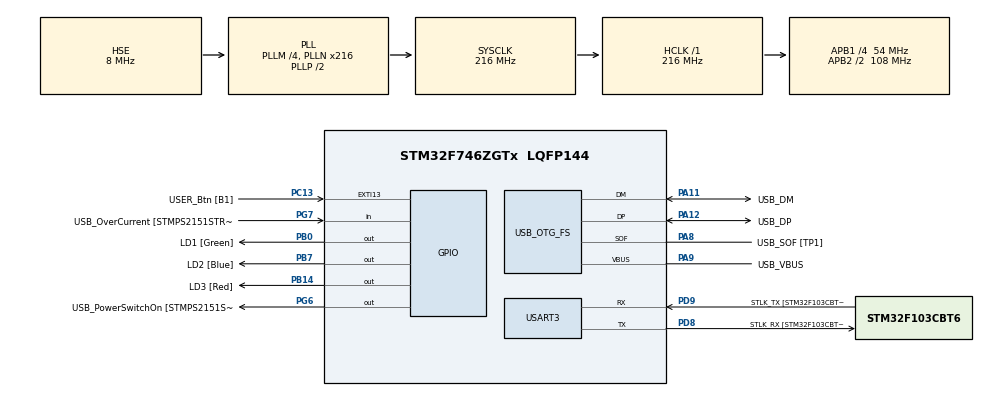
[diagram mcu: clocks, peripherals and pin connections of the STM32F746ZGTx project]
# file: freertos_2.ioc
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FREERTOS.Tasks01=defaultTask,24,128,StartDefaultTask,Default,NULL,Dynamic,NULL,NULL
Mcu.Family=STM32F7
Mcu.Name=STM32F746ZGTx
Mcu.Package=LQFP144
NVIC.PriorityGroup=NVIC_PRIORITYGROUP_4
NVIC.TIM1_UP_TIM10_IRQn=true\:0\:0\:false\:false\:true\:false\:false\:true
NVIC.TimeBase=TIM1_UP_TIM10_IRQn
NVIC.TimeBaseIP=TIM1
PA1.GPIO_Label=RMII_REF_CLK [LAN8742A-CZ-TR_REFCLK0]
PA1.Signal=ETH_REF_CLK
PA10.GPIO_Label=USB_ID
PA10.Signal=USB_OTG_FS_ID
PA11.GPIO_Label=USB_DM
PA11.Mode=Device_Only
PA11.Signal=USB_OTG_FS_DM
PA12.GPIO_Label=USB_DP
PA12.Mode=Device_Only
PA12.Signal=USB_OTG_FS_DP
PA13.GPIO_Label=TMS
PA13.Mode=Serial_Wire
PA13.Signal=SYS_JTMS-SWDIO
PA14.GPIO_Label=TCK
PA14.Mode=Serial_Wire
PA14.Signal=SYS_JTCK-SWCLK
PA2.GPIO_Label=RMII_MDIO [LAN8742A-CZ-TR_MDIO]
PA2.Signal=ETH_MDIO
PA7.GPIO_Label=RMII_CRS_DV [LAN8742A-CZ-TR_CRS_DV]
PA7.Signal=ETH_CRS_DV
PA8.GPIO_Label=USB_SOF [TP1]
PA8.Mode=Activate_SOF_FS
PA8.Signal=USB_OTG_FS_SOF
PA9.GPIO_Label=USB_VBUS
PA9.Mode=Activate_VBUS
PA9.Signal=USB_OTG_FS_VBUS
PB0.GPIO_Label=LD1 [Green]
PB0.Signal=GPIO_Output
PB13.GPIO_Label=RMII_TXD1 [LAN8742A-CZ-TR_TXD1]
PB13.Signal=ETH_TXD1
PB14.GPIO_Label=LD3 [Red]
PB14.Signal=GPIO_Output
PB3.GPIO_Label=SW0
PB3.Signal=SYS_JTDO-SWO
PB7.GPIO_Label=LD2 [Blue]
PB7.Signal=GPIO_Output
PC1.GPIO_Label=RMII_MDC [LAN8742A-CZ-TR_MDC]
PC1.Signal=ETH_MDC
PC13.GPIO_Label=USER_Btn [B1]
PC13.Signal=GPXTI13
PC14/OSC32_IN.Mode=LSE-External-Oscillator
PC14/OSC32_IN.Signal=RCC_OSC32_IN
PC15/OSC32_OUT.Mode=LSE-External-Oscillator
PC15/OSC32_OUT.Signal=RCC_OSC32_OUT
PC4.GPIO_Label=RMII_RXD0 [LAN8742A-CZ-TR_RXD0]
PC4.Signal=ETH_RXD0
PC5.GPIO_Label=RMII_RXD1 [LAN8742A-CZ-TR_RXD1]
PC5.Signal=ETH_RXD1
PD8.GPIO_Label=STLK_RX [STM32F103CBT6_PA3]
PD8.Mode=Asynchronous
PD8.Signal=USART3_TX
PD9.GPIO_Label=STLK_TX [STM32F103CBT6_PA2]
PD9.Mode=Asynchronous
PD9.Signal=USART3_RX
PG11.GPIO_Label=RMII_TX_EN [LAN8742A-CZ-TR_TXEN]
PG11.Signal=ETH_TX_EN
PG13.GPIO_Label=RMII_TXD0 [LAN8742A-CZ-TR_TXD0]
PG13.Signal=ETH_TXD0
PG6.GPIO_Label=USB_PowerSwitchOn [STMPS2151STR_EN]
PG6.Signal=GPIO_Output
PG7.GPIO_Label=USB_OverCurrent [STMPS2151STR_FAULT]
PG7.Signal=GPIO_Input
PH0/OSC_IN.GPIO_Label=MCO [STM32F103CBT6_PA8]
PH0/OSC_IN.Mode=HSE-External-Clock-Source
PH0/OSC_IN.Signal=RCC_OSC_IN
PH1/OSC_OUT.Mode=HSE-External-Clock-Source
PH1/OSC_OUT.Signal=RCC_OSC_OUT
ProjectManager.HeapSize=0x200
ProjectManager.StackSize=0x400
ProjectManager.TargetToolchain=STM32CubeIDE
RCC.48MHZClocksFreq_Value=24000000
RCC.AHBFreq_Value=216000000
RCC.APB1CLKDivider=RCC_HCLK_DIV4
RCC.APB1Freq_Value=54000000
RCC.APB1TimFreq_Value=108000000
RCC.APB2CLKDivider=RCC_HCLK_DIV2
RCC.APB2Freq_Value=108000000
RCC.APB2TimFreq_Value=216000000
RCC.CortexFreq_Value=216000000
RCC.HCLKFreq_Value=216000000
RCC.HSE_VALUE=8000000
RCC.HSI_VALUE=16000000
RCC.PLLM=4
RCC.PLLMUL=RCC_PLL_MUL9
RCC.PLLN=216
RCC.PLLQ=9
RCC.PRESCALERUSB=RCC_USBCLKSOURCE_PLL_DIV1_5
RCC.SYSCLKFreq_VALUE=216000000
RCC.SYSCLKSource=RCC_SYSCLKSOURCE_PLLCLK
RCC.SYSCLKSourceVirtual=RCC_SYSCLKSOURCE_PLLCLK
RCC.USBFreq_Value=48000000
RCC.VCOOutputFreq_Value=432000000
USART3.VirtualMode-Asynchronous=VM_ASYNC
USB_OTG_FS.VirtualMode=Device_Only
VP_FREERTOS_VS_CMSIS_V2.Mode=CMSIS_V2
VP_SYS_VS_tim1.Mode=TIM1
board=NUCLEO-F746ZG

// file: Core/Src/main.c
/* USER CODE BEGIN Header */
/**
  ******************************************************************************
  * @file           : main.c
  * @brief          : Main program body
  ******************************************************************************
  * @attention
  *
  * <h2><center>&copy; Copyright (c) 2021 STMicroelectronics.
  * All rights reserved.</center></h2>
  *
  * This software component is licensed by ST under Ultimate Liberty license
  * SLA0044, the "License"; You may not use this file except in compliance with
  * the License. You may obtain a copy of the License at:
  *                             www.st.com/SLA0044
  *
  ******************************************************************************
  */
/* USER CODE END Header */
#include "main.h"
#include "cmsis_os.h"

/* USER CODE BEGIN PTD */
/* Структура, содержащая передаваемую в задачу информацию */
typedef struct TaskParam_t {
	char string[32]; /* строка */
	long period; /* период */
} TaskParam;
/* USER CODE END PTD */

/* USER CODE BEGIN PD */
/* Объявление двух структур TaskParam */
TaskParam xTP1, xTP2;
/* USER CODE END PD */

UART_HandleTypeDef huart3;

PCD_HandleTypeDef hpcd_USB_OTG_FS;

/* Definitions for defaultTask */
osThreadId_t defaultTaskHandle;
const osThreadAttr_t defaultTask_attributes = {
  .name = "defaultTask",
  .stack_size = 128 * 4,
  .priority = (osPriority_t) osPriorityNormal,
};

void SystemClock_Config(void);
static void MX_GPIO_Init(void);
static void MX_USART3_UART_Init(void);
static void MX_USB_OTG_FS_PCD_Init(void);
void StartDefaultTask(void *argument);

/* USER CODE BEGIN PFP */
void vTask( void *pvParameters );
void vTaskFunction( void *pvParameters );
/* USER CODE END PFP */

int main(void)
{

  /* MCU Configuration--------------------------------------------------------*/

  /* Reset of all peripherals, Initializes the Flash interface and the Systick. */
  HAL_Init();

  /* Configure the system clock */
  SystemClock_Config();

  /* Initialize all configured peripherals */
  MX_GPIO_Init();
  MX_USART3_UART_Init();
  MX_USB_OTG_FS_PCD_Init();

  /* Init scheduler */
  osKernelInitialize();

  /* Create the thread(s) */
  /* creation of defaultTask */
  defaultTaskHandle = osThreadNew(StartDefaultTask, NULL, &defaultTask_attributes);

  /* USER CODE BEGIN RTOS_THREADS */
  xTaskCreate( vTaskFunction, ( signed char * )"Task1", configMINIMAL_STACK_SIZE, NULL, 1, NULL);
//  strcpy(xTP1.string, "Task 1 is running");
//  xTP1.period = 1000;
//  /* Заполнение полей структуры, передаваемой Задаче 2 */
//  strcpy(xTP2.string, "Task 2 is running");
//  xTP2.period = 3000;
//  /* Создание Задачи 1. Передача ей в качестве параметра указателя на структуру xTP1 */
//  xTaskCreate( vTask, ( signed char * )"Task1", configMINIMAL_STACK_SIZE, (void*)&xTP1, 1, NULL);
//  /* Создание Задачи 2. Передача ей указателя на структуру xTP2 */
//  xTaskCreate( vTask, ( signed char * )"Task2", configMINIMAL_STACK_SIZE, (void*)&xTP2, 1, NULL );
  /* USER CODE END RTOS_THREADS */

  /* Start scheduler */
  osKernelStart();

  /* We should never get here as control is now taken by the scheduler */
  /* Infinite loop */
  while (1)
  {

  }
}

void SystemClock_Config(void)
{
  RCC_OscInitTypeDef RCC_OscInitStruct = {0};
  RCC_ClkInitTypeDef RCC_ClkInitStruct = {0};
  RCC_PeriphCLKInitTypeDef PeriphClkInitStruct = {0};

  /** Configure LSE Drive Capability
  */
  HAL_PWR_EnableBkUpAccess();
  /** Configure the main internal regulator output voltage
  */
  __HAL_RCC_PWR_CLK_ENABLE();
  __HAL_PWR_VOLTAGESCALING_CONFIG(PWR_REGULATOR_VOLTAGE_SCALE1);
  /** Initializes the RCC Oscillators according to the specified parameters
  * in the RCC_OscInitTypeDef structure.
  */
  RCC_OscInitStruct.OscillatorType = RCC_OSCILLATORTYPE_HSE;
  RCC_OscInitStruct.HSEState = RCC_HSE_BYPASS;
  RCC_OscInitStruct.PLL.PLLState = RCC_PLL_ON;
  RCC_OscInitStruct.PLL.PLLSource = RCC_PLLSOURCE_HSE;
  RCC_OscInitStruct.PLL.PLLM = 4;
  RCC_OscInitStruct.PLL.PLLN = 216;
  RCC_OscInitStruct.PLL.PLLP = RCC_PLLP_DIV2;
  RCC_OscInitStruct.PLL.PLLQ = 9;
  if (HAL_RCC_OscConfig(&RCC_OscInitStruct) != HAL_OK)
  {
    Error_Handler();
  }
  /** Activate the Over-Drive mode
  */
  if (HAL_PWREx_EnableOverDrive() != HAL_OK)
  {
    Error_Handler();
  }
  /** Initializes the CPU, AHB and APB buses clocks
  */
  RCC_ClkInitStruct.ClockType = RCC_CLOCKTYPE_HCLK|RCC_CLOCKTYPE_SYSCLK
                              |RCC_CLOCKTYPE_PCLK1|RCC_CLOCKTYPE_PCLK2;
  RCC_ClkInitStruct.SYSCLKSource = RCC_SYSCLKSOURCE_PLLCLK;
  RCC_ClkInitStruct.AHBCLKDivider = RCC_SYSCLK_DIV1;
  RCC_ClkInitStruct.APB1CLKDivider = RCC_HCLK_DIV4;
  RCC_ClkInitStruct.APB2CLKDivider = RCC_HCLK_DIV2;

  if (HAL_RCC_ClockConfig(&RCC_ClkInitStruct, FLASH_LATENCY_7) != HAL_OK)
  {
    Error_Handler();
  }
  PeriphClkInitStruct.PeriphClockSelection = RCC_PERIPHCLK_USART3|RCC_PERIPHCLK_CLK48;
  PeriphClkInitStruct.Usart3ClockSelection = RCC_USART3CLKSOURCE_PCLK1;
  PeriphClkInitStruct.Clk48ClockSelection = RCC_CLK48SOURCE_PLL;
  if (HAL_RCCEx_PeriphCLKConfig(&PeriphClkInitStruct) != HAL_OK)
  {
    Error_Handler();
  }
}

static void MX_USART3_UART_Init(void)
{

  huart3.Instance = USART3;
  huart3.Init.BaudRate = 115200;
  huart3.Init.WordLength = UART_WORDLENGTH_8B;
  huart3.Init.StopBits = UART_STOPBITS_1;
  huart3.Init.Parity = UART_PARITY_NONE;
  huart3.Init.Mode = UART_MODE_TX_RX;
  huart3.Init.HwFlowCtl = UART_HWCONTROL_NONE;
  huart3.Init.OverSampling = UART_OVERSAMPLING_16;
  huart3.Init.OneBitSampling = UART_ONE_BIT_SAMPLE_DISABLE;
  huart3.AdvancedInit.AdvFeatureInit = UART_ADVFEATURE_NO_INIT;
  if (HAL_UART_Init(&huart3) != HAL_OK)
  {
    Error_Handler();
  }

}

static void MX_USB_OTG_FS_PCD_Init(void)
{

  hpcd_USB_OTG_FS.Instance = USB_OTG_FS;
  hpcd_USB_OTG_FS.Init.dev_endpoints = 6;
  hpcd_USB_OTG_FS.Init.speed = PCD_SPEED_FULL;
  hpcd_USB_OTG_FS.Init.dma_enable = DISABLE;
  hpcd_USB_OTG_FS.Init.phy_itface = PCD_PHY_EMBEDDED;
  hpcd_USB_OTG_FS.Init.Sof_enable = ENABLE;
  hpcd_USB_OTG_FS.Init.low_power_enable = DISABLE;
  hpcd_USB_OTG_FS.Init.lpm_enable = DISABLE;
  hpcd_USB_OTG_FS.Init.vbus_sensing_enable = ENABLE;
  hpcd_USB_OTG_FS.Init.use_dedicated_ep1 = DISABLE;
  if (HAL_PCD_Init(&hpcd_USB_OTG_FS) != HAL_OK)
  {
    Error_Handler();
  }

}

static void MX_GPIO_Init(void)
{
  GPIO_InitTypeDef GPIO_InitStruct = {0};

  /* GPIO Ports Clock Enable */
  __HAL_RCC_GPIOC_CLK_ENABLE();
  __HAL_RCC_GPIOH_CLK_ENABLE();
  __HAL_RCC_GPIOA_CLK_ENABLE();
  __HAL_RCC_GPIOB_CLK_ENABLE();
  __HAL_RCC_GPIOD_CLK_ENABLE();
  __HAL_RCC_GPIOG_CLK_ENABLE();

  /*Configure GPIO pin Output Level */
  HAL_GPIO_WritePin(GPIOB, LD1_Pin|LD3_Pin|LD2_Pin, GPIO_PIN_RESET);

  /*Configure GPIO pin Output Level */
  HAL_GPIO_WritePin(USB_PowerSwitchOn_GPIO_Port, USB_PowerSwitchOn_Pin, GPIO_PIN_RESET);

  /*Configure GPIO pin : USER_Btn_Pin */
  GPIO_InitStruct.Pin = USER_Btn_Pin;
  GPIO_InitStruct.Mode = GPIO_MODE_IT_RISING;
  GPIO_InitStruct.Pull = GPIO_NOPULL;
  HAL_GPIO_Init(USER_Btn_GPIO_Port, &GPIO_InitStruct);

  /*Configure GPIO pins : RMII_MDC_Pin RMII_RXD0_Pin RMII_RXD1_Pin */
  GPIO_InitStruct.Pin = RMII_MDC_Pin|RMII_RXD0_Pin|RMII_RXD1_Pin;
  GPIO_InitStruct.Mode = GPIO_MODE_AF_PP;
  GPIO_InitStruct.Pull = GPIO_NOPULL;
  GPIO_InitStruct.Speed = GPIO_SPEED_FREQ_VERY_HIGH;
  GPIO_InitStruct.Alternate = GPIO_AF11_ETH;
  HAL_GPIO_Init(GPIOC, &GPIO_InitStruct);

  /*Configure GPIO pins : RMII_REF_CLK_Pin RMII_MDIO_Pin RMII_CRS_DV_Pin */
  GPIO_InitStruct.Pin = RMII_REF_CLK_Pin|RMII_MDIO_Pin|RMII_CRS_DV_Pin;
  GPIO_InitStruct.Mode = GPIO_MODE_AF_PP;
  GPIO_InitStruct.Pull = GPIO_NOPULL;
  GPIO_InitStruct.Speed = GPIO_SPEED_FREQ_VERY_HIGH;
  GPIO_InitStruct.Alternate = GPIO_AF11_ETH;
  HAL_GPIO_Init(GPIOA, &GPIO_InitStruct);

  /*Configure GPIO pins : LD1_Pin LD3_Pin LD2_Pin */
  GPIO_InitStruct.Pin = LD1_Pin|LD3_Pin|LD2_Pin;
  GPIO_InitStruct.Mode = GPIO_MODE_OUTPUT_PP;
  GPIO_InitStruct.Pull = GPIO_NOPULL;
  GPIO_InitStruct.Speed = GPIO_SPEED_FREQ_LOW;
  HAL_GPIO_Init(GPIOB, &GPIO_InitStruct);

  /*Configure GPIO pin : RMII_TXD1_Pin */
  GPIO_InitStruct.Pin = RMII_TXD1_Pin;
  GPIO_InitStruct.Mode = GPIO_MODE_AF_PP;
  GPIO_InitStruct.Pull = GPIO_NOPULL;
  GPIO_InitStruct.Speed = GPIO_SPEED_FREQ_VERY_HIGH;
  GPIO_InitStruct.Alternate = GPIO_AF11_ETH;
  HAL_GPIO_Init(RMII_TXD1_GPIO_Port, &GPIO_InitStruct);

  /*Configure GPIO pin : USB_PowerSwitchOn_Pin */
  GPIO_InitStruct.Pin = USB_PowerSwitchOn_Pin;
  GPIO_InitStruct.Mode = GPIO_MODE_OUTPUT_PP;
  GPIO_InitStruct.Pull = GPIO_NOPULL;
  GPIO_InitStruct.Speed = GPIO_SPEED_FREQ_LOW;
  HAL_GPIO_Init(USB_PowerSwitchOn_GPIO_Port, &GPIO_InitStruct);

  /*Configure GPIO pin : USB_OverCurrent_Pin */
  GPIO_InitStruct.Pin = USB_OverCurrent_Pin;
  GPIO_InitStruct.Mode = GPIO_MODE_INPUT;
  GPIO_InitStruct.Pull = GPIO_NOPULL;
  HAL_GPIO_Init(USB_OverCurrent_GPIO_Port, &GPIO_InitStruct);

  /*Configure GPIO pins : RMII_TX_EN_Pin RMII_TXD0_Pin */
  GPIO_InitStruct.Pin = RMII_TX_EN_Pin|RMII_TXD0_Pin;
  GPIO_InitStruct.Mode = GPIO_MODE_AF_PP;
  GPIO_InitStruct.Pull = GPIO_NOPULL;
  GPIO_InitStruct.Speed = GPIO_SPEED_FREQ_VERY_HIGH;
  GPIO_InitStruct.Alternate = GPIO_AF11_ETH;
  HAL_GPIO_Init(GPIOG, &GPIO_InitStruct);

}

/* USER CODE BEGIN 4 */
int _write(int file, char *ptr, int len)
{
	int DataIdx;
	for(DataIdx=0;DataIdx<len;DataIdx++)
	{
		ITM_SendChar(*ptr++);
	}
	return len;
}

void vTaskFunction( void *pvParameters )
{
	/* Переменная, которая будет хранить значение счетчика квантов
	в момент выхода задачи из блокированного состояния */
	portTickType xLastWakeTime;
	/* Переменная xLastWakeTime нуждается в инициализации текущим значением счетчика квантов.
	Это единственный случай, когда ее значение задается явно.
	В дальнейшем ее значение будет автоматически модифицироваться API-функцией vTaskDelayUntil(). */
	xLastWakeTime = xTaskGetTickCount();
	/* Бесконечный цикл */
	for( ;; ){
		printf("%ld \n",xLastWakeTime);
		vTaskDelayUntil( &xLastWakeTime, ( 5000 / portTICK_RATE_MS ) );
	}
}
void vTask( void *pvParameters )
{
	volatile long ul;
	volatile TaskParam *pxTaskParam;
	/* Преобразование типа void* к типу TaskParam* */
	pxTaskParam = (TaskParam *) pvParameters;
	for( ;; ){
		/* Вывести на экран строку, переданную в качестве параметра при создании задачи */
		puts( (const char*)pxTaskParam->string );
		/* Задержка на некоторый период Т2*/
		vTaskDelay(pxTaskParam->period / portTICK_RATE_MS);
	}
	vTaskDelete( NULL );
}

/* USER CODE END 4 */

void StartDefaultTask(void *argument)
{
  for(;;)
  {
    osDelay(1);
  }
}

 /**
  * @brief  Period elapsed callback in non blocking mode
  * @note   This function is called  when TIM1 interrupt took place, inside
  * HAL_TIM_IRQHandler(). It makes a direct call to HAL_IncTick() to increment
  * a global variable "uwTick" used as application time base.
  * @param  htim : TIM handle
  * @retval None
  */
void HAL_TIM_PeriodElapsedCallback(TIM_HandleTypeDef *htim)
{
  if (htim->Instance == TIM1) {
    HAL_IncTick();
  }
}

void Error_Handler(void)
{
  __disable_irq();
  while (1)
  {
  }
}

/************************ (C) COPYRIGHT STMicroelectronics *****END OF FILE****/
